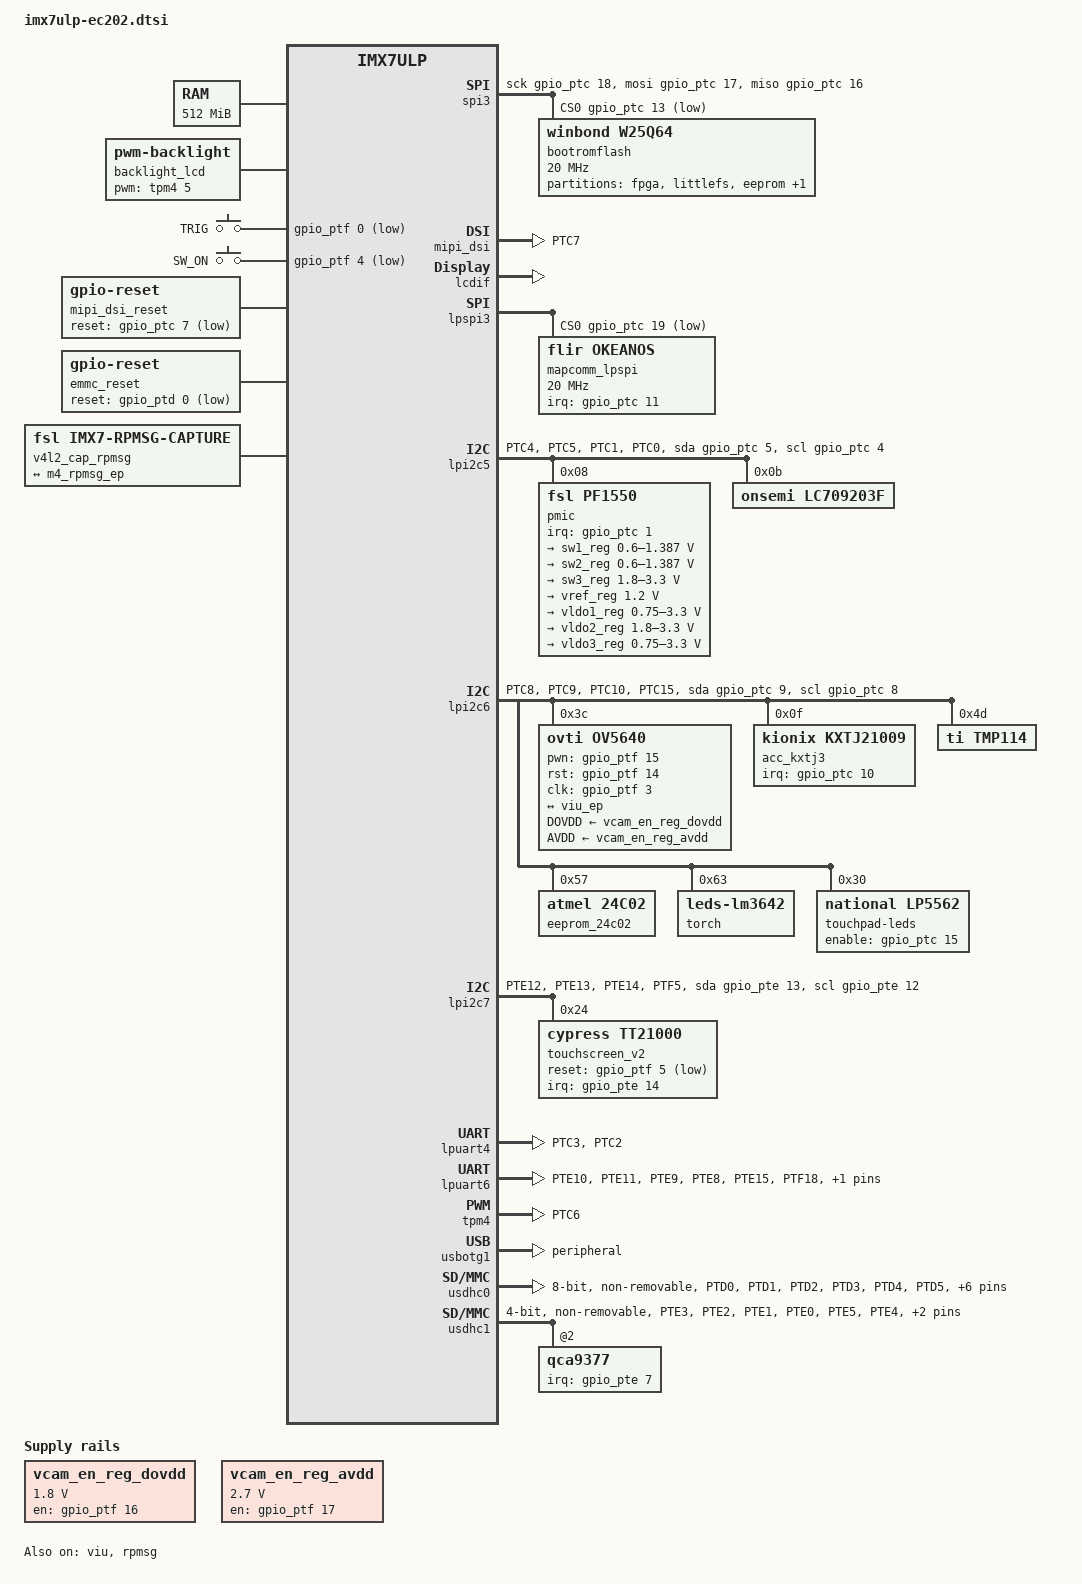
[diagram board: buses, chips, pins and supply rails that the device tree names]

// /*
//  * Copyright 2019 FLIR
//  *
//  * This program is free software; you can redistribute it and/or modify
//  * it under the terms of the GNU General Public License version 2 as
//  * published by the Free Software Foundation.
//  */

#include <dt-bindings/leds/common.h>

/ {

	aliases {
		lcdif = &lcdif;
		i2c0 = &lpi2c5;
		i2c1 = &lpi2c6;
		i2c2 = &lpi2c7;
	};

	chosen {
		stdout-path = &lpuart4;
	};

	memory@60000000 {
		device_type = "memory";
		reg = <0x60000000 0x20000000>;
	};

	reserved-memory {
		rpmsg_reserved: rpmsg@9FFF0000 {
			no-map;
			reg = <0x7FF80000 0x80000>;
		};
	};

	backlight_lcd {
		compatible = "pwm-backlight";
		pwms = <&tpm4 5 1000000 0>;
		brightness-levels = <0 10 20 30 40 50 60 70 80 90 100>;
		default-brightness-level = <7>;
		status = "okay";
	};

	regulators {
		compatible = "simple-bus";
		#address-cells = <1>;
		#size-cells = <0>;

		vcam_en_reg_dovdd: vcam_en_reg_dovdd {
			compatible = "regulator-fixed";
			regulator-name = "vcam_en_reg_dovdd";
			regulator-min-microvolt = <1800000>;
			regulator-max-microvolt = <1800000>;
			gpios = <&gpio_ptf 16 GPIO_ACTIVE_HIGH>;
			startup-delay-us = <0>;
			enable-active-high;
		};

		vcam_en_reg_avdd: vcam_en_reg_avdd {
			compatible = "regulator-fixed";
			regulator-name = "vcam_en_reg_avdd";
			regulator-min-microvolt = <2700000>;
			regulator-max-microvolt = <2700000>;
			gpios = <&gpio_ptf 17 GPIO_ACTIVE_HIGH>;
			startup-delay-us = <0>;
			enable-active-high;
		};

	};

		gpio_keys {
		compatible = "gpio-keys";
		pinctrl-names = "default";
		pinctrl-0 = <&pinctrl_gpiokeys>;
		#address-cells = <1>;
		#size-cells = <0>;

		TRIG {
			label = "TRIG";
			linux,input-type = <1>; /* EV_KEY */
			linux,code = <KEY_F6>;
			gpios = <&gpio_ptf 0 GPIO_ACTIVE_LOW>;
			debounce-interval = <5>;
		};

		SW_ON {
			label = "SW_ON";
			linux,input-type = <1>; /* EV_KEY */
			linux,code = <KEY_F8>;
			gpios = <&gpio_ptf 4 GPIO_ACTIVE_LOW>;
			debounce-interval = <5>;
		};
	};

	mipi_dsi_reset: mipi-dsi-reset {
		compatible = "gpio-reset";
		reset-gpios = <&gpio_ptc 7 GPIO_ACTIVE_LOW>;
		reset-delay-us = <5000>;
		initially-in-reset;
		#reset-cells = <0>;
	};

	emmc_reset: emmc_reset {
		compatible = "gpio-reset";
		reset-gpios = <&gpio_ptd 0 GPIO_ACTIVE_LOW>;
		reset-delay-us = <1000>;
		#reset-cells = <0>;
	};

	v4l2_cap_rpmsg {
		compatible = "fsl,imx7-rpmsg-capture";
		status = "okay";
		port {
			v4l2_cap_rpmsg_ep: endpoint {
				remote-endpoint = <&m4_rpmsg_ep>;
			};
		};
	};

	m4_rpmsg: m4_rpmsg {
		port {
			m4_rpmsg_ep: endpoint {
				remote-endpoint = <&v4l2_cap_rpmsg_ep>;
			};
		};
	};

	// Change memory access priorites (QoS) for AXI switches
	// Refer to chapter 13.2.1 (NIC-301 block diagram) and
	// chapter 13.4.2.3 (ASIB default values) of iMX7ULP reference manual

	nic0: nic0@41c00000 {
		compatible = "arm,nic-301";
		reg = <0x41c00000 0x100000>;
		m3_prio = <4>;		// Reduce 3D GPU prio from 5 to 4
		m4_prio = <4>;		// Reduce 2D GPU prio from 5 to 4
	};

	nic1: nic1@41d00000 {
		compatible = "arm,nic-301";
		reg = <0x41d00000 0x100000>;
		m2_prio = <5>;		// Raise Cortex-M4 prio from 1 to 5
		m5_prio = <5>;		// Raise VIU prio from 4 to 5
	};

	snvs: snvs@41070000 {
		compatible = "fsl,sec-v4.0-mon", "syscon", "simple-mfd";
		reg = <0x41070000 0x10000>;
		snvs_rtc: snvs-rtc-lp {
			compatible = "fsl,sec-v4.0-mon-rtc-lp";
			regmap = <&snvs>;
			offset = <0x34>;
			interrupts = <GIC_SPI 88 IRQ_TYPE_LEVEL_HIGH>;
		};
	};

	spi3 {
		#address-cells = <1>;
		#size-cells = <0>;
		compatible = "spi-gpio";
		status = "okay";
		sck-gpios = <&gpio_ptc 18 0>;
		mosi-gpios = <&gpio_ptc 17 0>;
		miso-gpios = <&gpio_ptc 16 0>;
		num-chipselects = <1>;
		cs-gpios = <&gpio_ptc 13 GPIO_ACTIVE_LOW>;

		// Bootrom on REMI
		bootromflash@cs1 {
			compatible = "winbond,w25q64", "jedec,spi-nor";
			spi-max-frequency = <20000000>;
			soft-reset-before-probe;
			reg = <0>;
			status = "okay";
			#address-cells = <1>;
			#size-cells = <1>;
			pinctrl-names = "default";
			pinctrl-0 = <&pinctrl_spi3>;

			partition@0 {
				label = "fpga";
				reg = <0x0 0x0>;
				//reg = <0x0 0x670000>;
			};
			partition@670000 {
				label = "littlefs";
				reg = <0x670000 0x17c000>;
			};
			partition@7ef000 {
				label = "eeprom";
				reg = <0x7ef000 0x1000>;
			};
			partition@7f0000 {
				label = "fpgaheader";
				reg = <0x7f0000 0x10000>;
			};
		};
	};

	rtc_rpmsg: rtc-rpmsg {
		compatible = "fsl,imx-rpmsg-rtc";
	};
};

&cpu0 {
	cpu-supply = <&sw1_reg>;
};

/* LCD */
&mipi_dsi {
	pinctrl-names = "default";
	pinctrl-0 = <&pinctrl_mipi_dsi_reset>;
	lcd_panel = "TRULY-VGA-SHERLOCK";
	status = "okay";
	resets = <&mipi_dsi_reset>;
};

&lcdif {
	status = "okay";
	disp-dev = "mipi_dsi_northwest";
	display = <&display0>;
	bootlogo = <0x0 0x0>;

	display0: display@0 {
		bits-per-pixel = <32>;
		bus-width = <24>;
	};
};

&iomuxc1 {
	pinctrl-names = "default";

	pinctrl_pwm0: pwm0grp {
		fsl,pins = <
			IMX7ULP_PAD_PTC6__TPM4_CH5  0x0
			>;
	};

	pinctrl_gpiokeys: gpiokeysgrp {
		fsl,pins = <
			IMX7ULP_PAD_PTF0__PTF0  0x10003
			IMX7ULP_PAD_PTF4__PTF4  0x10003
			>;
		};

	pinctrl_spi3: spi3 {
		fsl,pins = <
			IMX7ULP_PAD_PTC11__PTC11	0x3
			IMX7ULP_PAD_PTC13__PTC13	0x20103
			IMX7ULP_PAD_PTC14__PTC14	0x10102
			IMX7ULP_PAD_PTC16__PTC16	0x10100
			IMX7ULP_PAD_PTC17__PTC17	0x3
			IMX7ULP_PAD_PTC18__PTC18	0x20103
			IMX7ULP_PAD_PTC19__PTC19	0x3
			>;
	};

	pinctrl_lpspi3: lpspi3grp {
		fsl,pins = <
			IMX7ULP_PAD_PTC11__PTC11        0x3 /* SPI_IRQ_0 */
			IMX7ULP_PAD_PTC12__LPSPI3_PCS1  0x0 /* SPI_CS_1 */
			IMX7ULP_PAD_PTC13__LPSPI3_PCS2  0x0 /* SPI_CS_2 */
			IMX7ULP_PAD_PTC14__PTC14        0x3 /* SPI_IRQ_1 */
			IMX7ULP_PAD_PTC16__LPSPI3_SIN   0x0 /* SPI_MISO */
			IMX7ULP_PAD_PTC17__LPSPI3_SOUT  0x0 /* SPI_MOSI */
			IMX7ULP_PAD_PTC18__LPSPI3_SCK   0x2 /* SPI_SCK */
			IMX7ULP_PAD_PTC19__PTC19        0x3 /* SPI_CS_0 */
			>;
	};

	pinctrl_lpi2c5: lpi2c5grp {
		fsl,pins = <
			IMX7ULP_PAD_PTC4__LPI2C5_SCL    0x27
			IMX7ULP_PAD_PTC5__LPI2C5_SDA    0x27
			IMX7ULP_PAD_PTC1__PTC1          0x3  /* PMIC_INT */
			IMX7ULP_PAD_PTC0__PTC0          0x27 /* PMIC_WD */
			>;
	};

	pinctrl_lpi2c5_sleep: lpi2c5grp_sleep {
		fsl,pins = <
			IMX7ULP_PAD_PTC4__PTC4          0x0
			IMX7ULP_PAD_PTC5__PTC5          0x0
			IMX7ULP_PAD_PTC1__PTC1          0x3  /* PMIC_INT */
			IMX7ULP_PAD_PTC0__PTC0          0x27 /* PMIC_WD */
			>;
	};

	pinctrl_lpi2c5_gpio: lpi2c5grp_gpio {
		fsl,pins = <
			IMX7ULP_PAD_PTC4__PTC4          0x27
			IMX7ULP_PAD_PTC5__PTC5          0x27
			IMX7ULP_PAD_PTC1__PTC1          0x3  /* PMIC_INT */
			IMX7ULP_PAD_PTC0__PTC0          0x27 /* PMIC_WD */
			>;
	};

	pinctrl_lpi2c6: lpi2c6grp {
		fsl,pins = <
			IMX7ULP_PAD_PTC8__LPI2C6_SCL    0x27
			IMX7ULP_PAD_PTC9__LPI2C6_SDA    0x27
			IMX7ULP_PAD_PTC10__PTC10        0x2 /* ACC_INT_n */
			IMX7ULP_PAD_PTC15__PTC15        0x20000 /* TP_LED_EN */
			>;
	};

	pinctrl_lpi2c6_sleep: lpi2c6grp_sleep {
		fsl,pins = <
			IMX7ULP_PAD_PTC8__PTC8          0x0
			IMX7ULP_PAD_PTC9__PTC9          0x0
			IMX7ULP_PAD_PTC10__PTC10        0x0 /* ACC_INT_n */
			IMX7ULP_PAD_PTC15__PTC15        0x0 /* TP_LED_EN */
			>;
	};

	pinctrl_lpi2c6_gpio: lpi2c6grp_gpio {
		fsl,pins = <
			IMX7ULP_PAD_PTC8__PTC8    		0x27
			IMX7ULP_PAD_PTC9__PTC9    		0x27
			IMX7ULP_PAD_PTC10__PTC10        0x2 /* ACC_INT_n */
			IMX7ULP_PAD_PTC15__PTC15        0x33 /* TP_LED_EN */
			>;
	};

	pinctrl_lpi2c7: lpi2c7grp {
		fsl,pins = <
			IMX7ULP_PAD_PTE12__LPI2C7_SCL   0x27
			IMX7ULP_PAD_PTE13__LPI2C7_SDA   0x27
			IMX7ULP_PAD_PTE14__PTE14        0x3 /* PCAPINT_n */
			IMX7ULP_PAD_PTF5__PTF5          0x20043 /* TP_RESET_n */
			>;
	};

	pinctrl_lpi2c7_sleep: lpi2c7grp_sleep {
		fsl,pins = <
			IMX7ULP_PAD_PTE12__PTE12        0x0
			IMX7ULP_PAD_PTE13__PTE13        0x0
			IMX7ULP_PAD_PTE14__PTE14        0x0 /* PCAPINT_n */
			IMX7ULP_PAD_PTF5__PTF5          0x3 /* TP_RESET_n */
			>;
	};

	pinctrl_lpi2c7_gpio: lpi2c7grp_gpio {
		fsl,pins = <
			IMX7ULP_PAD_PTE12__PTE12   	    0x27
			IMX7ULP_PAD_PTE13__PTE13   	    0x27
			IMX7ULP_PAD_PTE14__PTE14        0x3 /* PCAPINT_n */
			IMX7ULP_PAD_PTF5__PTF5          0x20043 /* TP_RESET_n */
			>;
	};

	pinctrl_lpuart4: lpuart4grp {
		fsl,pins = <
			IMX7ULP_PAD_PTC3__LPUART4_RX    0x3
			IMX7ULP_PAD_PTC2__LPUART4_TX    0x3
			>;
		bias-pull-up;
	};

	pinctrl_lpuart4_sleep: lpuart4grp_sleep {
		fsl,pins = <
			IMX7ULP_PAD_PTC3__PTC3    0x0
			IMX7ULP_PAD_PTC2__PTC2    0x0
			>;
	};

	pinctrl_lpuart6: lpuart6grp {
		fsl,pins = <
			IMX7ULP_PAD_PTE10__LPUART6_TX   0x3
			IMX7ULP_PAD_PTE11__LPUART6_RX   0x3
			IMX7ULP_PAD_PTE9__LPUART6_RTS_B 0x3
			IMX7ULP_PAD_PTE8__LPUART6_CTS_B 0x3
			IMX7ULP_PAD_PTE15__PTE15	0x3     /* BT_EN */
			IMX7ULP_PAD_PTF18__PTF18	0x3     /* BT_WAKE_HOST */
			IMX7ULP_PAD_PTF19__PTF19	0x3     /* HOST_WAKE_BT */
			>;
	};

	pinctrl_lpuart6_sleep: lpuart6grp_sleep {
		fsl,pins = <
			IMX7ULP_PAD_PTE10__PTE10        0x0
			IMX7ULP_PAD_PTE11__PTE11        0x0
			IMX7ULP_PAD_PTE9__PTE9          0x0
			IMX7ULP_PAD_PTE8__PTE8          0x0
			IMX7ULP_PAD_PTE15__PTE15	0x0     /* BT_EN */
			IMX7ULP_PAD_PTF18__PTF18	0x0     /* BT_WAKE_HOST */
			IMX7ULP_PAD_PTF19__PTF19	0x0     /* HOST_WAKE_BT */
			>;
	};

	pinctrl_usdhc0: usdhc0grp {
		fsl,pins = <
			IMX7ULP_PAD_PTD0__PTD0      0x20000     /* USDHC0 RST */
			IMX7ULP_PAD_PTD1__SDHC0_CMD 0x43
			IMX7ULP_PAD_PTD2__SDHC0_CLK 0x10042
			IMX7ULP_PAD_PTD3__SDHC0_D7  0x43
			IMX7ULP_PAD_PTD4__SDHC0_D6  0x43
			IMX7ULP_PAD_PTD5__SDHC0_D5  0x43
			IMX7ULP_PAD_PTD6__SDHC0_D4  0x43
			IMX7ULP_PAD_PTD7__SDHC0_D3  0x43
			IMX7ULP_PAD_PTD8__SDHC0_D2  0x43
			IMX7ULP_PAD_PTD9__SDHC0_D1  0x43
			IMX7ULP_PAD_PTD10__SDHC0_D0 0x43
			IMX7ULP_PAD_PTD11__SDHC0_DQS    0x42
			>;
	};

	pinctrl_usdhc1: usdhc1grp {
		fsl,pins = <
			IMX7ULP_PAD_PTE3__SDHC1_CMD     0x43
			IMX7ULP_PAD_PTE2__SDHC1_CLK     0x10042
			IMX7ULP_PAD_PTE1__SDHC1_D0      0x43
			IMX7ULP_PAD_PTE0__SDHC1_D1      0x43
			IMX7ULP_PAD_PTE5__SDHC1_D2      0x43
			IMX7ULP_PAD_PTE4__SDHC1_D3      0x43
			IMX7ULP_PAD_PTE6__PTE6		0x3     /* WLAN_EN */
			IMX7ULP_PAD_PTE7__PTE7		0x2     /* WLAN_IRQ */
			>;
	};

	pinctrl_usdhc1_sleep: usdhc1grp_sleep {
		fsl,pins = <
			IMX7ULP_PAD_PTE3__PTE3          0x0
			IMX7ULP_PAD_PTE2__PTE2          0x0
			IMX7ULP_PAD_PTE1__PTE1          0x0
			IMX7ULP_PAD_PTE0__PTE0          0x0
			IMX7ULP_PAD_PTE5__PTE5          0x0
			IMX7ULP_PAD_PTE4__PTE4          0x0
			IMX7ULP_PAD_PTE6__PTE6		0x0     /* WLAN_EN */
			IMX7ULP_PAD_PTE7__PTE7		0x0     /* WLAN_IRQ */
			>;
	};

	pinctrl_mipi_dsi_reset: mipi_dsi_reset_grp {
		fsl,pins = <
			IMX7ULP_PAD_PTC7__PTC7    0x3 /* DISPLAY_RESET */
			>;
	};

	pinctrl_camera: camera_grp {
		fsl,pins = <
			IMX7ULP_PAD_PTF3__VIU_PCLK  0x10043
			IMX7ULP_PAD_PTF6__VIU_D2    0x43
			IMX7ULP_PAD_PTF7__VIU_D3    0x43
			IMX7ULP_PAD_PTF8__VIU_D4    0x43
			IMX7ULP_PAD_PTF9__VIU_D5    0x43
			IMX7ULP_PAD_PTF10__VIU_D6   0x43
			IMX7ULP_PAD_PTF11__VIU_D7   0x43
			IMX7ULP_PAD_PTF12__VIU_D8   0x43
			IMX7ULP_PAD_PTF13__VIU_D9   0x43
			IMX7ULP_PAD_PTF14__PTF14    0x20043  /* CAMERA RESET */
			IMX7ULP_PAD_PTF15__PTF15    0x20043  /* CAMERA PWDN */
			IMX7ULP_PAD_PTF16__PTF16    0x20043  /* CAMERA 1V8 ENABLE*/
			IMX7ULP_PAD_PTF17__PTF17    0x20043  /* CAMERA 2V8 ENABLE */
			>;
	};

	pinctrl_camera_sleep: camera_grp_sleep {
		fsl,pins = <
			IMX7ULP_PAD_PTF3__PTF3      0x0
			IMX7ULP_PAD_PTF6__PTF6      0x0
			IMX7ULP_PAD_PTF7__PTF7      0x0
			IMX7ULP_PAD_PTF8__PTF8      0x0
			IMX7ULP_PAD_PTF9__PTF9      0x0
			IMX7ULP_PAD_PTF10__PTF10    0x0
			IMX7ULP_PAD_PTF11__PTF11    0x0
			IMX7ULP_PAD_PTF12__PTF12    0x0
			IMX7ULP_PAD_PTF13__PTF13    0x0
			IMX7ULP_PAD_PTF14__PTF14    0x20043  /* CAMERA RESET */
			IMX7ULP_PAD_PTF15__PTF15    0x20043  /* CAMERA PWDN */
			IMX7ULP_PAD_PTF16__PTF16    0x20043  /* CAMERA 1V8 ENABLE*/
			IMX7ULP_PAD_PTF17__PTF17    0x20043  /* CAMERA 2V8 ENABLE */
			>;
	};
};

&lpspi3 {
	#address-cells = <1>;
	#size-cells = <0>;
	status = "okay";
	cs-gpios = <&gpio_ptc 19 GPIO_ACTIVE_LOW>;

	mapcomm_lpspi: okeanos@0 {
		reg = <0>;
		compatible = "flir,okeanos";
		status = "okay";

		pinctrl-names = "default";
		pinctrl-0 = <&pinctrl_lpspi3>;

		spi-max-frequency = <20000000>;
		interrupt-parent = <&gpio_ptc>;
		interrupts = <11 IRQ_TYPE_LEVEL_HIGH>;
		interrupt-name = "okeanos";
	};
};

/*  PMIC */
&lpi2c5 {
	#address-cells = <1>;
	#size-cells = <0>;
	pinctrl-names = "default", "sleep", "gpio";
	pinctrl-0 = <&pinctrl_lpi2c5>;
	pinctrl-1 = <&pinctrl_lpi2c5_sleep>;
	pinctrl-2 = <&pinctrl_lpi2c5_gpio>;
	scl-gpios = <&gpio_ptc 4 GPIO_ACTIVE_HIGH>;
	sda-gpios = <&gpio_ptc 5 GPIO_ACTIVE_HIGH>;
	status = "okay";

	pmic: pf1550@08 {
		compatible = "fsl,pf1550";
		interrupt-parent = <&gpio_ptc>;
		interrupts = <1 IRQ_TYPE_EDGE_FALLING>;
		reg = <0x08>;

		onkey {
			compatible = "fsl,pf1550-onkey";
			linux,keycode = <KEY_F8>;
			reset-time = <8>;
		};

		charger {
			compatible = "fsl,pf1550-charger";
			fsl,min-system-microvolt = <4300000>;
			coincell-microvolt = <3100000>;
		};

		regulators {
			compatible = "fsl,pf1550-regulator";
			pwrctrl2 = <0x01>;

			sw1_reg: SW1 {
				regulator-name = "SW1";
				regulator-min-microvolt = <600000>;
				regulator-max-microvolt = <1387500>;
				regulator-boot-on;
				regulator-always-on;
				regulator-ramp-delay = <6250>;
			};

			sw2_reg: SW2 {
				regulator-name = "SW2";
				regulator-min-microvolt = <600000>;
				regulator-max-microvolt = <1387500>;
				regulator-boot-on;
				regulator-always-on;
			};

			sw3_reg: SW3 {
				regulator-name = "SW3";
				regulator-min-microvolt = <1800000>;
				regulator-max-microvolt = <3300000>;
				regulator-boot-on;
				regulator-always-on;
			};

			vref_reg: VREFDDR {
				regulator-name = "VREFDDR";
				regulator-min-microvolt = <1200000>;
				regulator-max-microvolt = <1200000>;
				regulator-boot-on;
				regulator-always-on;
			};

			vldo1_reg: LDO1 {
				regulator-name = "LDO1";
				regulator-min-microvolt = <750000>;
				regulator-max-microvolt = <3300000>;
				regulator-always-on;
			};

			vldo2_reg: LDO2 {
				regulator-name = "LDO2";
				regulator-min-microvolt = <1800000>;
				regulator-max-microvolt = <3300000>;
				regulator-always-on;
			};

			vldo3_reg: LDO3 {
				regulator-name = "LDO3";
				regulator-min-microvolt = <750000>;
				regulator-max-microvolt = <3300000>;
				regulator-always-on;
			};
		};
	};

	/*Fuel gauge */
	lc709203f: lc709203f@0b {
		compatible = "onsemi,lc709203f";
		reg = <0x0b>;
		thermistor-beta = <0x0d34>;
		kernel-threshold-soc = <0>;
		kernel-maximum-soc = <100>;
		alert-low-rsoc = <0x0>;
		alert-low-voltage = <0x0>;
	};
};

/*  IO expander for VCAM, Lepton, Accelerometer, Temp sensor 1 and 2, EEPROM */
&lpi2c6 {
	#address-cells = <1>;
	#size-cells = <0>;
	pinctrl-names = "default", "sleep", "gpio";
	pinctrl-0 = <&pinctrl_lpi2c6>;
	pinctrl-1 = <&pinctrl_lpi2c6_sleep>;
	pinctrl-2 = <&pinctrl_lpi2c6_gpio>;
	scl-gpios = <&gpio_ptc 8 GPIO_ACTIVE_HIGH>;
	sda-gpios = <&gpio_ptc 9 GPIO_ACTIVE_HIGH>;
	status = "okay";

	ov5640: ov5640@3c {
		compatible = "ovti,ov5640";
		reg = <0x3c>;
		clocks = <&pcc3 IMX7ULP_CLK_DUMMY>;
		clock-names = "csi_mclk";
		DOVDD-supply = <&vcam_en_reg_dovdd>; /* 1.8v */
		AVDD-supply = <&vcam_en_reg_avdd>;  /* 2.8v */
		pwn-gpios = <&gpio_ptf 15 GPIO_ACTIVE_HIGH>;
		rst-gpios = <&gpio_ptf 14 GPIO_ACTIVE_HIGH>;
		clk-gpios = <&gpio_ptf 3 GPIO_ACTIVE_HIGH>;
		csi_id = <0>;
		mclk = <24000000>;
		mclk_source = <0>;
		status = "okay";
		port {
			ov5640_ep: endpoint {
				remote-endpoint = <&viu_ep>;
			};
		};
	};

	acc_kxtj3: acc_kxtj3@0F {
		compatible = "kionix,kxtj21009";
		reg = <0x0F>;
		interrupt-parent = <&gpio_ptc>;
		interrupts = <10 IRQ_TYPE_LEVEL_HIGH>;
	};

	tmp114: tmp114@4d {
		compatible = "ti,tmp114";
		reg = <0x4d>;
	};

	eeprom_24c02: eeprom_24c02@57 {
		compatible = "atmel,24c02";
		reg = <0x57>;
		pagesize = <16>;
	};

	torch: torch@63 {
		compatible = "leds-lm3642";
		reg = <0x63>;
		flash-ramp = <3>;       /* 011b = 2 ms */
		flash-time-out = <7>;   /* 111b = 800 ms */
		torch-max-current = <3>;/* 011b = 375 mA */
		flash-max-current = <7>;/* 0111b = 750 mA */
		ivfm = <3>;		/* 011b = 3.2 V */
		torch-ramp = <5>;	/* 101b = 512 ms */
	};

		touchpad_leds: touchpad_leds@30 {
		compatible = "national,lp5562";
		reg = <0x30>;

		label = "touchpad-leds";
		clock-mode = <1>;	/* Internal clock */
		enable-gpio = <&gpio_ptc 15 GPIO_ACTIVE_HIGH>;

		tp_led1 {
			chan-name = "tp-camera";
			led-cur = /bits/ 8 <0x32>;
			max-cur = /bits/ 8 <0x32>;
			linux,default-trigger = "none";
			reg = <0>;
			color = <LED_COLOR_ID_WHITE>;
		};
		tp_led2 {
			chan-name = "tp-settings";
			led-cur = /bits/ 8 <0x32>;
			max-cur = /bits/ 8 <0x32>;
			linux,default-trigger = "none";
			reg = <1>;
			color = <LED_COLOR_ID_WHITE>;
		};
		tp_led3 {
			chan-name = "tp-gallery";
			led-cur = /bits/ 8 <0x32>;
			max-cur = /bits/ 8 <0x32>;
			linux,default-trigger = "none";
			reg = <2>;
			color = <LED_COLOR_ID_WHITE>;
		};
		tp_led4 {
			chan-name = "tp-NA";
			led-cur = /bits/ 8 <0x32>;
			max-cur = /bits/ 8 <0x32>;
			linux,default-trigger = "none";
			reg = <3>;
			color = <LED_COLOR_ID_WHITE>;
		};
	};
};

/* Touchscreen */
&lpi2c7 {
	#address-cells = <1>;
	#size-cells = <0>;
	pinctrl-names = "default",  "sleep", "gpio";
	pinctrl-0 = <&pinctrl_lpi2c7>;
	pinctrl-1 = <&pinctrl_lpi2c7_sleep>;
	pinctrl-2 = <&pinctrl_lpi2c7_gpio>;
	scl-gpios = <&gpio_pte 12 GPIO_ACTIVE_HIGH>;
	sda-gpios = <&gpio_pte 13 GPIO_ACTIVE_HIGH>;
	status = "okay";

	touchscreen_v2:tsc@24{
		compatible = "cypress,tt21000";
		reg = <0x24>;

		interrupts = <14 IRQ_TYPE_EDGE_FALLING>;
		interrupt-parent = <&gpio_pte>;
		reset-gpios = <&gpio_ptf 5 GPIO_ACTIVE_LOW>;
		pinctrl_names = "default";

		touchscreen-size-x = <640>;
		touchscreen-size-y = <480>;
		// Screen buttons: Camera, Archive, Settings
		linux,keycodes = <KEY_F11>, <KEY_F7>, <KEY_F12>;

		status = "okay";
	};
};

&lpuart4 { /* console */
	pinctrl-names = "default";
	pinctrl-0 = <&pinctrl_lpuart4>;
	status = "okay";
};

&lpuart6 { /* BT */
	pinctrl-names = "default", "sleep";
	pinctrl-0 = <&pinctrl_lpuart6>;
	pinctrl-1 = <&pinctrl_lpuart6_sleep>;
	/* Default 48 MHz FIRC clk does not run at 48 MHz, use 24 MHz SOSC */
	assigned-clock-parents = <&scg1 IMX7ULP_CLK_SOSC_BUS_CLK>;
	assigned-clock-rates = <24000000>;
	status = "okay";
};

&ahbbridge0 {
	rpmsg: rpmsg{
		compatible = "fsl,imx7ulp-rpmsg";
		memory-region = <&rpmsg_reserved>;
		status = "disabled";
		mbox-names = "tx", "rx", "rxdb";
		mboxes = <&mu 0 1
			  &mu 1 1
			  &mu 3 1>;
	};
};

&rpmsg{
	/*
	 * 64K for one rpmsg instance, default using 2 rpmsg instances:
	 * --0x7FF80000~0x7FF8FFFF: pmic,pm,audio,keys,gpio,sensor
	 * --0x7FF90000~0x7FF9FFFF: pingpong,virtual tty
	 */
	vdev-nums = <2>;
	reg = <0x7FF80000 0x20000>;
	status = "okay";
};

&rtc_rpmsg{
	status = "disabled";
};

&tpm4 {
	pinctrl-names = "default", "sleep";
	pinctrl-0 = <&pinctrl_pwm0>;
	pinctrl-1 = <&pinctrl_pwm0>;
	status = "okay";
};

&usbotg1 {
	dr_mode = "peripheral";
	srp-disable;
	hnp-disable;
	adp-disable;
	phy-charger-detection;
	status = "okay";
};

/* emmc */
&usdhc0 {
	pinctrl-names = "default";
	pinctrl-0 = <&pinctrl_usdhc0>;
	resets = <&emmc_reset>;
	bus-width = <8>;
	non-removable;
	status = "okay";
};

/* wifi */
&usdhc1 {
	pinctrl-names = "default", "sleep";
	pinctrl-0 = <&pinctrl_usdhc1>;
	pinctrl-1 = <&pinctrl_usdhc1_sleep>;
	bus-width = <4>;
	pm-ignore-notify;
	non-removable;
	wifi-host;
	status = "okay";
	#address-cells = <1>;
	#size-cells = <0>;
	max-frequency = <12500000>;

	qca9377: qca9377@2 {
		reg = <2>;
		interrupt-parent = <&gpio_pte>;
		interrupts = <7 IRQ_TYPE_LEVEL_HIGH>;
	};
};

&viu {
	pinctrl-names = "default", "sleep";
	pinctrl-0 = <&pinctrl_camera>;
	pinctrl-1 = <&pinctrl_camera_sleep>;
	status = "okay";
	port {
	viu_ep: endpoint {
			remote-endpoint = <&ov5640_ep>;
		};
	};
};
